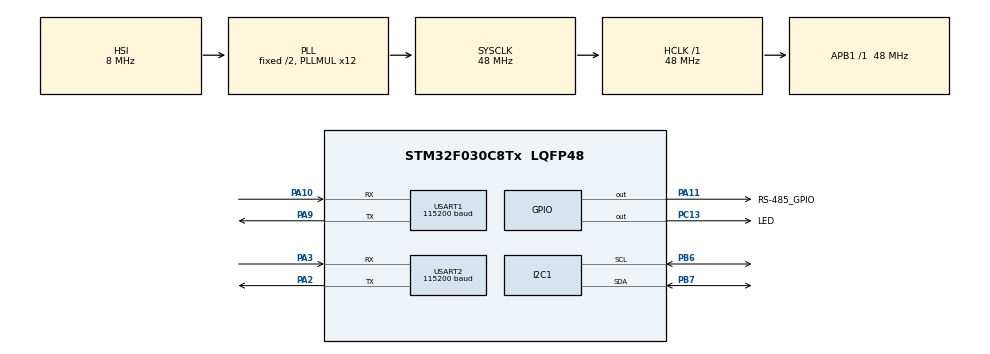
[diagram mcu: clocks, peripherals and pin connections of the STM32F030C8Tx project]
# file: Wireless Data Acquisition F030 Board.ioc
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I2C1.Timing=0x00201D2B
Mcu.Family=STM32F0
Mcu.Name=STM32F030C8Tx
Mcu.Package=LQFP48
NVIC.I2C1_IRQn=true\:0\:0\:false\:false\:true\:true\:true\:true
NVIC.USART2_IRQn=true\:0\:0\:false\:false\:true\:true\:true\:true
PA10.Mode=Asynchronous
PA10.Signal=USART1_RX
PA11.GPIO_Label=RS-485_GPIO
PA11.Signal=GPIO_Output
PA2.Mode=Asynchronous
PA2.Signal=USART2_TX
PA3.Mode=Asynchronous
PA3.Signal=USART2_RX
PA9.Mode=Asynchronous
PA9.Signal=USART1_TX
PB6.Mode=I2C
PB6.Signal=I2C1_SCL
PB7.Mode=I2C
PB7.Signal=I2C1_SDA
PC13.GPIO_Label=LED
PC13.Signal=GPIO_Output
PF0-OSC_IN.Mode=HSE-External-Oscillator
PF0-OSC_IN.Signal=RCC_OSC_IN
PF1-OSC_OUT.Mode=HSE-External-Oscillator
PF1-OSC_OUT.Signal=RCC_OSC_OUT
ProjectManager.HeapSize=0x200
ProjectManager.StackSize=0x400
ProjectManager.TargetToolchain=STM32CubeIDE
RCC.AHBFreq_Value=48000000
RCC.APB1Freq_Value=48000000
RCC.APB1TimFreq_Value=48000000
RCC.HCLKFreq_Value=48000000
RCC.PLLMUL=RCC_PLL_MUL12
RCC.SYSCLKFreq_VALUE=48000000
RCC.SYSCLKSource=RCC_SYSCLKSOURCE_PLLCLK
USART1.BaudRate=115200
USART1.VirtualMode-Asynchronous=VM_ASYNC
USART2.BaudRate=115200
USART2.VirtualMode-Asynchronous=VM_ASYNC
board=custom

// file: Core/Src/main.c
/* USER CODE BEGIN Header */
/**
  ******************************************************************************
  * @file           : main.c
  * @brief          : Main program body
  ******************************************************************************
  * @attention
  *
  * Copyright (c) 2025 STMicroelectronics.
  * All rights reserved.
  *
  * This software is licensed under terms that can be found in the LICENSE file
  * in the root directory of this software component.
  * If no LICENSE file comes with this software, it is provided AS-IS.
  *
  ******************************************************************************
  */
/* USER CODE END Header */
#include "main.h"

/* USER CODE BEGIN Includes */
#include <stdio.h>
#include "string.h"
#include "BNO055.h"
#include "bno055_port.h"
#include "Parser.h"

/* USER CODE END Includes */

I2C_HandleTypeDef hi2c1;

UART_HandleTypeDef huart1;
UART_HandleTypeDef huart2;

/* USER CODE BEGIN PV */
char RxBuff[13] = {0};
uint8_t RxChar = 0;
char Global_Receive_Buff[31];
uint8_t indeks = 0;
char temp[5] = {0};
struct bno055_t bno055_ = {0};

s32 comres = BNO055_ERROR;

u8 power_mode = BNO055_INIT_VALUE;

s16 accel_datax = BNO055_INIT_VALUE;

s16 accel_datay = BNO055_INIT_VALUE;

s16 accel_dataz = BNO055_INIT_VALUE;

struct bno055_accel_t accel_xyz;

s16 mag_datax = BNO055_INIT_VALUE;

s16 mag_datay = BNO055_INIT_VALUE;

s16 mag_dataz = BNO055_INIT_VALUE;

struct bno055_mag_t mag_xyz;

s16 gyro_datax = BNO055_INIT_VALUE;

s16 gyro_datay = BNO055_INIT_VALUE;

s16 gyro_dataz = BNO055_INIT_VALUE;

struct bno055_gyro_t gyro_xyz;

struct bno055_euler_t euler_hrp;

struct bno055_quaternion_t quaternion_wxyz;

struct bno055_linear_accel_t linear_acce_xyz;

struct bno055_gravity_t gravity_xyz;

struct bno055_accel_double_t d_accel_xyz;

struct bno055_mag_double_t d_mag_xyz;

struct bno055_gyro_double_t d_gyro_xyz;

struct bno055_euler_double_t d_euler_hpr;

struct bno055_linear_accel_double_t d_linear_accel_xyz;

struct bno055_gravity_double_t d_gravity_xyz;

struct bno055_data_double_t bno055_data = {0};

/* USER CODE END PV */

void SystemClock_Config(void);
static void MX_GPIO_Init(void);
static void MX_USART1_UART_Init(void);
static void MX_USART2_UART_Init(void);
static void MX_I2C1_Init(void);
/* USER CODE BEGIN PFP */
void RS485_TransmitData(char* buffer);

/* USER CODE END PFP */

int main(void)
{

  /* MCU Configuration--------------------------------------------------------*/

  /* Reset of all peripherals, Initializes the Flash interface and the Systick. */
  HAL_Init();

  /* Configure the system clock */
  SystemClock_Config();

  /* Initialize all configured peripherals */
  MX_GPIO_Init();
  MX_USART1_UART_Init();
  MX_USART2_UART_Init();
  MX_I2C1_Init();
  /* USER CODE BEGIN 2 */
  HAL_UART_Receive_IT(&huart2, &RxChar, 1);

  bno055_.dev_addr = 0x28U;
  bno055_.delay_msec = bno055_delay;
  bno055_.bus_read = bno055_read;
  bno055_.bus_write = bno055_write;

  if(bno055_init(&bno055_) != BNO055_SUCCESS)
  {
	  Error_Handler();
  }

  power_mode = BNO055_POWER_MODE_NORMAL;

  comres += bno055_set_power_mode(power_mode);

  comres += bno055_set_operation_mode(BNO055_OPERATION_MODE_NDOF);

  Global_Receive_Buff[0] = '$';
  strcpy(&Global_Receive_Buff[1], ";S:");
  Global_Receive_Buff[8] = ',';
  Global_Receive_Buff[13] = ',';
  strcpy(&Global_Receive_Buff[18], ";M:");
  Global_Receive_Buff[24] = ',';
  strcpy(&Global_Receive_Buff[28], ";!");

  /* USER CODE END 2 */

  /* Infinite loop */
  while (1)
  {

    /* USER CODE BEGIN 3 */

	  comres += bno055_read_accel_xyz(&accel_xyz);
	  comres += bno055_read_mag_xyz(&mag_xyz);
	  comres += bno055_read_gyro_xyz(&gyro_xyz);
	  comres += bno055_read_gravity_xyz(&gravity_xyz);
	  comres += bno055_read_euler_hrp(&euler_hrp);

	  //Datas converted to double
	  comres += bno055_convert_double_accel_xyz_mg(&d_accel_xyz);
	  comres += bno055_convert_double_mag_xyz_uT(&d_mag_xyz);
	  comres += bno055_convert_double_gyro_xyz_dps(&d_gyro_xyz);
	  comres += bno055_convert_double_gravity_xyz_msq(&d_gravity_xyz);
	  comres += bno055_convert_double_euler_hpr_deg(&d_euler_hpr);

	  sprintf(temp, "%04d", (int)d_euler_hpr.r);
	  memcpy(&Global_Receive_Buff[4], temp, 4);

	  sprintf(temp, "%04d", (int)d_euler_hpr.p);
	  memcpy(&Global_Receive_Buff[9], temp, 4);

	  sprintf(temp, "%04d", (int)d_euler_hpr.h);
	  memcpy(&Global_Receive_Buff[14], temp, 4);

	  memset(&Global_Receive_Buff[21], '-', 3);
	  memset(&Global_Receive_Buff[25], '-', 3);
	  HAL_UART_Transmit(&huart1, (uint8_t*)&Global_Receive_Buff, 31, 100);
	  HAL_Delay(100);
  }
  /* USER CODE END 3 */
}

void SystemClock_Config(void)
{
  RCC_OscInitTypeDef RCC_OscInitStruct = {0};
  RCC_ClkInitTypeDef RCC_ClkInitStruct = {0};
  RCC_PeriphCLKInitTypeDef PeriphClkInit = {0};

  /** Initializes the RCC Oscillators according to the specified parameters
  * in the RCC_OscInitTypeDef structure.
  */
  RCC_OscInitStruct.OscillatorType = RCC_OSCILLATORTYPE_HSI;
  RCC_OscInitStruct.HSIState = RCC_HSI_ON;
  RCC_OscInitStruct.HSICalibrationValue = RCC_HSICALIBRATION_DEFAULT;
  RCC_OscInitStruct.PLL.PLLState = RCC_PLL_ON;
  RCC_OscInitStruct.PLL.PLLSource = RCC_PLLSOURCE_HSI;
  RCC_OscInitStruct.PLL.PLLMUL = RCC_PLL_MUL12;
  RCC_OscInitStruct.PLL.PREDIV = RCC_PREDIV_DIV1;
  if (HAL_RCC_OscConfig(&RCC_OscInitStruct) != HAL_OK)
  {
    Error_Handler();
  }

  /** Initializes the CPU, AHB and APB buses clocks
  */
  RCC_ClkInitStruct.ClockType = RCC_CLOCKTYPE_HCLK|RCC_CLOCKTYPE_SYSCLK
                              |RCC_CLOCKTYPE_PCLK1;
  RCC_ClkInitStruct.SYSCLKSource = RCC_SYSCLKSOURCE_PLLCLK;
  RCC_ClkInitStruct.AHBCLKDivider = RCC_SYSCLK_DIV1;
  RCC_ClkInitStruct.APB1CLKDivider = RCC_HCLK_DIV1;

  if (HAL_RCC_ClockConfig(&RCC_ClkInitStruct, FLASH_LATENCY_1) != HAL_OK)
  {
    Error_Handler();
  }
  PeriphClkInit.PeriphClockSelection = RCC_PERIPHCLK_USART1|RCC_PERIPHCLK_I2C1;
  PeriphClkInit.Usart1ClockSelection = RCC_USART1CLKSOURCE_PCLK1;
  PeriphClkInit.I2c1ClockSelection = RCC_I2C1CLKSOURCE_HSI;
  if (HAL_RCCEx_PeriphCLKConfig(&PeriphClkInit) != HAL_OK)
  {
    Error_Handler();
  }
}

static void MX_I2C1_Init(void)
{

  hi2c1.Instance = I2C1;
  hi2c1.Init.Timing = 0x00201D2B;
  hi2c1.Init.OwnAddress1 = 0;
  hi2c1.Init.AddressingMode = I2C_ADDRESSINGMODE_7BIT;
  hi2c1.Init.DualAddressMode = I2C_DUALADDRESS_DISABLE;
  hi2c1.Init.OwnAddress2 = 0;
  hi2c1.Init.OwnAddress2Masks = I2C_OA2_NOMASK;
  hi2c1.Init.GeneralCallMode = I2C_GENERALCALL_DISABLE;
  hi2c1.Init.NoStretchMode = I2C_NOSTRETCH_DISABLE;
  if (HAL_I2C_Init(&hi2c1) != HAL_OK)
  {
    Error_Handler();
  }

  /** Configure Analogue filter
  */
  if (HAL_I2CEx_ConfigAnalogFilter(&hi2c1, I2C_ANALOGFILTER_ENABLE) != HAL_OK)
  {
    Error_Handler();
  }

  /** Configure Digital filter
  */
  if (HAL_I2CEx_ConfigDigitalFilter(&hi2c1, 0) != HAL_OK)
  {
    Error_Handler();
  }

}

static void MX_USART1_UART_Init(void)
{

  huart1.Instance = USART1;
  huart1.Init.BaudRate = 115200;
  huart1.Init.WordLength = UART_WORDLENGTH_8B;
  huart1.Init.StopBits = UART_STOPBITS_1;
  huart1.Init.Parity = UART_PARITY_NONE;
  huart1.Init.Mode = UART_MODE_TX_RX;
  huart1.Init.HwFlowCtl = UART_HWCONTROL_NONE;
  huart1.Init.OverSampling = UART_OVERSAMPLING_16;
  huart1.Init.OneBitSampling = UART_ONE_BIT_SAMPLE_DISABLE;
  huart1.AdvancedInit.AdvFeatureInit = UART_ADVFEATURE_NO_INIT;
  if (HAL_UART_Init(&huart1) != HAL_OK)
  {
    Error_Handler();
  }

}

static void MX_USART2_UART_Init(void)
{

  huart2.Instance = USART2;
  huart2.Init.BaudRate = 115200;
  huart2.Init.WordLength = UART_WORDLENGTH_8B;
  huart2.Init.StopBits = UART_STOPBITS_1;
  huart2.Init.Parity = UART_PARITY_NONE;
  huart2.Init.Mode = UART_MODE_TX_RX;
  huart2.Init.HwFlowCtl = UART_HWCONTROL_NONE;
  huart2.Init.OverSampling = UART_OVERSAMPLING_16;
  huart2.Init.OneBitSampling = UART_ONE_BIT_SAMPLE_DISABLE;
  huart2.AdvancedInit.AdvFeatureInit = UART_ADVFEATURE_NO_INIT;
  if (HAL_UART_Init(&huart2) != HAL_OK)
  {
    Error_Handler();
  }

}

static void MX_GPIO_Init(void)
{
  GPIO_InitTypeDef GPIO_InitStruct = {0};

  /* GPIO Ports Clock Enable */
  __HAL_RCC_GPIOC_CLK_ENABLE();
  __HAL_RCC_GPIOF_CLK_ENABLE();
  __HAL_RCC_GPIOA_CLK_ENABLE();
  __HAL_RCC_GPIOB_CLK_ENABLE();

  /*Configure GPIO pin Output Level */
  HAL_GPIO_WritePin(LED_GPIO_Port, LED_Pin, GPIO_PIN_RESET);

  /*Configure GPIO pin Output Level */
  HAL_GPIO_WritePin(RS_485_GPIO_GPIO_Port, RS_485_GPIO_Pin, GPIO_PIN_RESET);

  /*Configure GPIO pin : LED_Pin */
  GPIO_InitStruct.Pin = LED_Pin;
  GPIO_InitStruct.Mode = GPIO_MODE_OUTPUT_PP;
  GPIO_InitStruct.Pull = GPIO_NOPULL;
  GPIO_InitStruct.Speed = GPIO_SPEED_FREQ_LOW;
  HAL_GPIO_Init(LED_GPIO_Port, &GPIO_InitStruct);

  /*Configure GPIO pin : RS_485_GPIO_Pin */
  GPIO_InitStruct.Pin = RS_485_GPIO_Pin;
  GPIO_InitStruct.Mode = GPIO_MODE_OUTPUT_PP;
  GPIO_InitStruct.Pull = GPIO_NOPULL;
  GPIO_InitStruct.Speed = GPIO_SPEED_FREQ_LOW;
  HAL_GPIO_Init(RS_485_GPIO_GPIO_Port, &GPIO_InitStruct);

}

/* USER CODE BEGIN 4 */
void HAL_UART_RxCpltCallback(UART_HandleTypeDef *huart)
{

	//İndex değerinin buffer boyutundan küçük olup olmadığı kontrol edilir
	if(indeks <= 13)
	{
		RxBuff[indeks++] = RxChar;

		if((RxChar == '!') && (RxBuff[0] == '$'))
		{
			//Buffer'a gelen Servo-2 verilerini gönderilecek genel buffer'a kaydet
			for(uint8_t i=0; i<3; i++)
			{
				Global_Receive_Buff[21+i] = RxBuff[2+i];
			}

			//Buffer'a gelen Servo-1 verilerini gönderilecek genel buffer'a kaydet
			for(uint8_t i=0; i<3; i++)
			{
				Global_Receive_Buff[25+i] = RxBuff[6+i];
			}
		}

		//Bitiş karakteri geldiğinde bu bloğa gir
		if(RxChar == '!')
		{
			//Buffer'da toplanan paketi ayrıştır, format yanlışsa Error_Handler'a gir
			if(ParsePacket(RxBuff) != HAL_OK)
			{
				memset(&RxBuff, 0, 13);
				Error_Handler();
			}

			//Toplanan paketi gönder
			RS485_TransmitData(Global_Receive_Buff);

			//Buffer'ı sıfırla
			memset(&RxBuff, 0, 13);
		}
		//'\r' veya '\n' karakterleri gelmişse bu bloğa gir. İndeksi sıfırla ve tekrar kesme bekle
		else if(RxChar == '\r' || RxChar == '\n')
		{
			indeks = 0;
			HAL_UART_Receive_IT(&huart2, &RxChar, 1);
			return;
		}
	}
	HAL_UART_Receive_IT(&huart2, &RxChar, 1);
}

void RS485_TransmitData(char* buffer)
{
	HAL_GPIO_WritePin(RS_485_GPIO_GPIO_Port, RS_485_GPIO_Pin, GPIO_PIN_SET);
	HAL_UART_Transmit(&huart1, (uint8_t*)&Global_Receive_Buff, 31, 1000);
	HAL_GPIO_WritePin(RS_485_GPIO_GPIO_Port, RS_485_GPIO_Pin, GPIO_PIN_RESET);
}

/* USER CODE END 4 */

void Error_Handler(void)
{
  __disable_irq();
  while (1)
  {
  }
}
